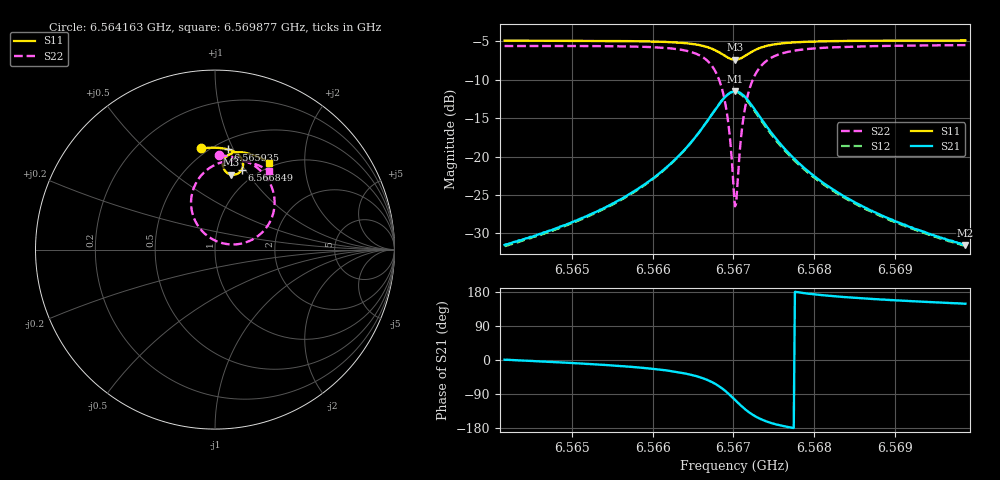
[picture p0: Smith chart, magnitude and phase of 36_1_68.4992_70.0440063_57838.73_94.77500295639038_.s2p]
#  HZ  S  RI  R  50.00
! Rohde & Schwarz Vector Network Analyzer
! Rohde-Schwarz,ZNB20-2Port,1311601062101988,3.16
! Created: UTC 3/20/2024, 5:05:16 PM
! freq[Hz]  re:S11  im:S11  re:S21  im:S21  re:S12  im:S12  re:S22  im:S22
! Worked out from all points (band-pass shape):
!   401 points, 6.564163 GHz to 6.569877 GHz, reference 50 ohm
!   highest |S21| = -11.49 dB at 6.56702 GHz (marker M1); lowest = -31.5 dB at 6.569877 GHz (marker M2)
!   |S21| within 3 dB of the highest: 6.566734 GHz to 6.567306 GHz (572.2 kHz wide, 0.00871 % of centre)
!   lowest |S11| = -7.4 dB at 6.56702 GHz (marker M3), VSWR 2.49, Z = 40.7 + j41.6 ohm
!   |S11| at or under -10 dB: nowhere
!   |S22| runs from -26.5 to -5.5 dB; largest |S21 - S12| = 0.012
!   S11 on the Smith chart (normalised r, x): 6.564163 GHz: 0.46, +0.76; 6.565935 GHz: 0.58, +0.95; 6.566849 GHz: 0.84, +0.97; 6.569877 GHz: 0.93, +1.34
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6.5641634e9  -0.0778 0.5636  0.0266 0.000361  0.0261 -7.88e-05  0.0213 0.5248
6.5651204e9  -0.000207 0.5679  0.0393 -0.00668  0.0385 -0.00704  0.1096 0.5138
6.5659345e9  0.0738 0.558  0.063 -0.0254  0.0621 -0.0261  0.2087 0.4739
6.5660773e9  0.0884 0.5533  0.0701 -0.0329  0.0691 -0.0338  0.2314 0.4587
6.5663916e9  0.1235 0.535  0.0902 -0.0636  0.0888 -0.0648  0.2897 0.3982
6.5666058e9  0.1478 0.5078  0.1035 -0.1105  0.1012 -0.1127  0.3279 0.3073
6.5667486e9  0.1565 0.4754  0.097 -0.1672  0.0928 -0.1701  0.3237 0.1994
6.5668486e9  0.1488 0.4454  0.0662 -0.2187  0.0593 -0.2213  0.2696 0.1028
6.5668915e9  0.1392 0.4327  0.0414 -0.2395  0.0328 -0.2412  0.2245 0.0652
6.5669343e9  0.1252 0.4227  0.00887 -0.2551  -0.00119 -0.2551  0.1653 0.0381
6.5670057e9  0.0949 0.417  -0.057 -0.26  -0.0678 -0.2557  0.0479 0.0341
6.56702e9  0.0886 0.4178  -0.0704 -0.257  -0.0809 -0.2517  0.0246 0.0407
6.5670486e9  0.0766 0.422  -0.0961 -0.2473  -0.1058 -0.2402  -0.0193 0.0609
6.5671057e9  0.0571 0.4371  -0.1378 -0.2152  -0.1447 -0.2056  -0.0876 0.1222
6.5671486e9  0.0484 0.452  -0.1581 -0.1851  -0.1624 -0.1748  -0.1179 0.1773
6.5672057e9  0.0443 0.4724  -0.1708 -0.1447  -0.1722 -0.1349  -0.1333 0.2492
6.5672771e9  0.0483 0.4946  -0.1707 -0.1015  -0.1696 -0.0932  -0.1247 0.3243
6.5675342e9  0.0873 0.534  -0.128 -0.022  -0.1252 -0.0184  -0.0279 0.4563
6.567977e9  0.1459 0.5422  -0.0762 0.00814  -0.0743 0.00924  0.0933 0.4967
6.5683912e9  0.187 0.535  -0.0528 0.0134  -0.0516 0.014  0.1609 0.4934
6.5689339e9  0.2326 0.5197  -0.0366 0.0145  -0.0358 0.0147  0.2228 0.4769
6.5698766e9  0.3009 0.4851  -0.0227 0.0139  -0.0222 0.014  0.3021 0.4385
